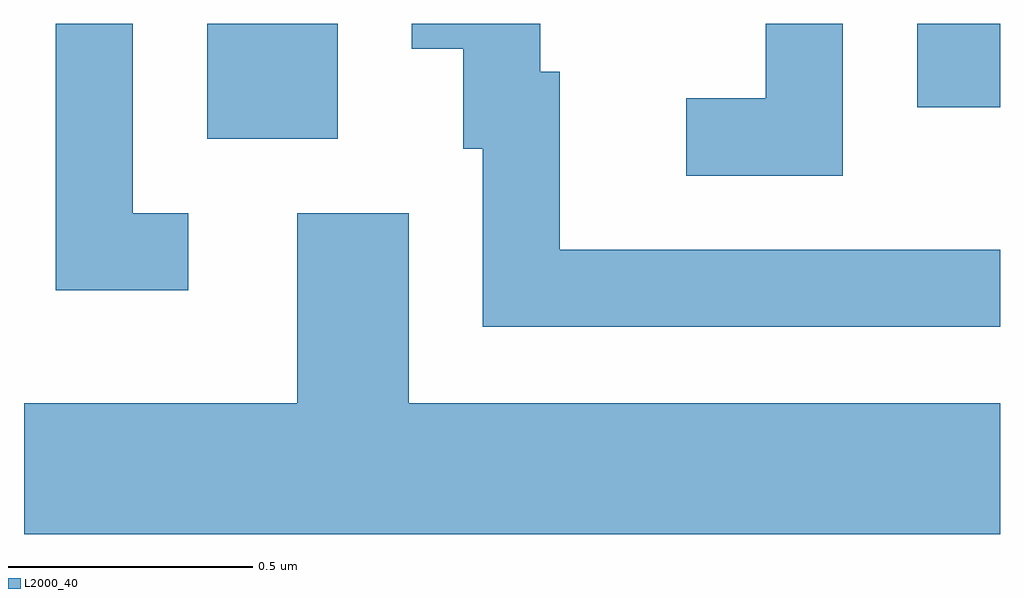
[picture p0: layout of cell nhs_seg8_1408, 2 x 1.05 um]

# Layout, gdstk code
import gdstk
lib = gdstk.Library(unit=1e-6, precision=1e-09)
def R(c, l, rs):  # rectangles x0, y0, x1, y1
    for r in rs: c.add(gdstk.rectangle(r[:2], r[2:], *l))
def P(c, l, *ps):  # polygons
    for p in ps: c.add(gdstk.Polygon(p, *l))
L2000_40 = (2000, 40)

nhs_seg8_1408 = lib.new_cell('nhs_seg8_1408')
R(nhs_seg8_1408, L2000_40, [(195.986,1846.106,196.254,1846.342), (197.441,1846.171,197.611,1846.342)])
P(nhs_seg8_1408, L2000_40, [(197.289,1846.342),(197.131,1846.342),(197.131,1846.189),(196.968,1846.189),(196.968,1846.031),(197.289,1846.031)],
  [(195.948,1845.954),(195.834,1845.954),(195.834,1846.342),(195.676,1846.342),(195.676,1845.796),(195.948,1845.796)],
  [(197.611,1845.879),(196.709,1845.879),(196.709,1846.244),(196.669,1846.244),(196.669,1846.342),(196.406,1846.342),(196.406,1846.291),(196.511,1846.291),(196.511,1846.086),(196.551,1846.086),(196.551,1845.721),(197.611,1845.721)],
  [(197.611,1845.564),(196.399,1845.564),(196.399,1845.954),(196.171,1845.954),(196.171,1845.564),(195.611,1845.564),(195.611,1845.296),(197.611,1845.296)])

lib.write_gds('nhs_seg8_1408.gds')
